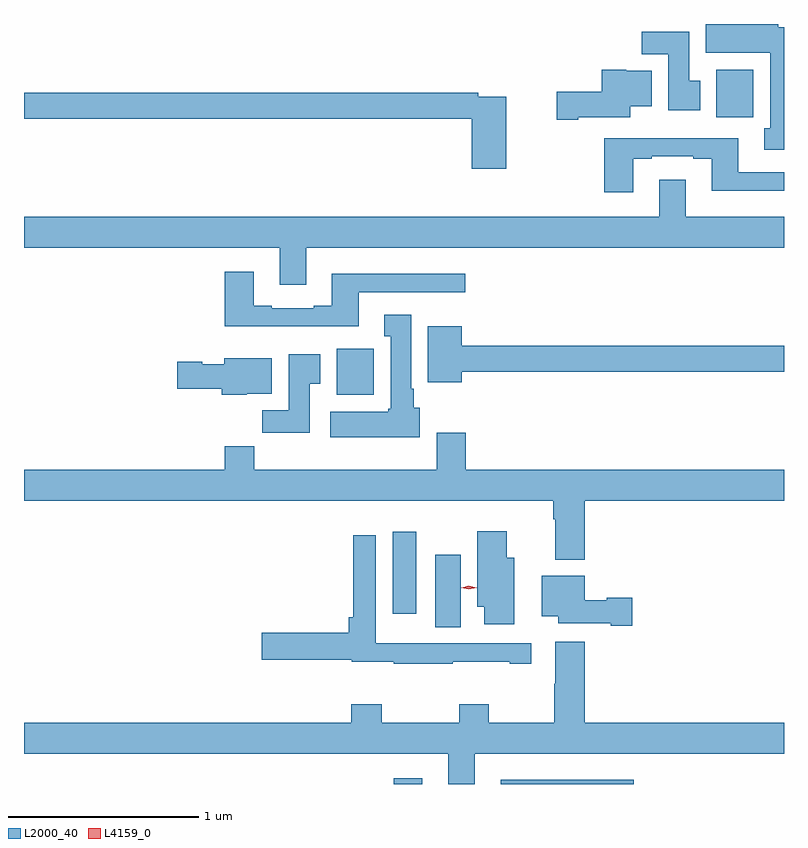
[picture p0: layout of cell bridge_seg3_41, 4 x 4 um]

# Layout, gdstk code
import gdstk
lib = gdstk.Library(unit=1e-6, precision=1e-09)
def R(c, l, rs):  # rectangles x0, y0, x1, y1
    for r in rs: c.add(gdstk.rectangle(r[:2], r[2:], *l))
def P(c, l, *ps):  # polygons
    for p in ps: c.add(gdstk.Polygon(p, *l))
L2000_40 = (2000, 40)
L4159_0 = (4159, 0)

bridge_seg3_41 = lib.new_cell('bridge_seg3_41')
R(bridge_seg3_41, L2000_40, [(832.475,671.454,832.627,671.485), (833.039,671.454,833.74,671.476), (832.694,672.28,832.828,672.661), (832.472,672.351,832.594,672.781), (832.175,673.502,832.372,673.744), (834.173,674.964,834.369,675.214)])
P(bridge_seg3_41, L2000_40, [(834.53,675.436),(834.499,675.436),(834.499,675.454),(834.119,675.454),(834.119,675.302),(834.458,675.302),(834.458,674.905),(834.425,674.905),(834.425,674.793),(834.53,674.793)],
  [(834.088,675.156),(834.031,675.156),(834.031,675.414),(833.782,675.414),(833.782,675.296),(833.921,675.296),(833.921,675),(834.088,675)],
  [(833.446,674.963),(833.722,674.963),(833.722,675.02),(833.833,675.02),(833.833,675.208),(833.7,675.208),(833.7,675.214),(833.57,675.214),(833.57,675.098),(833.334,675.098),(833.334,674.951),(833.446,674.951)],
  [(833.069,675.072),(832.922,675.072),(832.922,675.092),(830.53,675.092),(830.53,674.956),(832.886,674.956),(832.886,674.691),(833.069,674.691)],
  [(833.737,674.745),(833.833,674.745),(833.833,674.757),(834.053,674.757),(834.053,674.745),(834.149,674.745),(834.149,674.576),(834.53,674.576),(834.53,674.673),(834.289,674.673),(834.289,674.854),(833.585,674.854),(833.585,674.568),(833.737,674.568)],
  [(832.015,674.276),(834.53,674.276),(834.53,674.44),(834.013,674.44),(834.013,674.635),(833.873,674.635),(833.873,674.44),(830.53,674.44),(830.53,674.276),(831.875,674.276),(831.875,674.082),(832.015,674.082)],
  [(832.291,674.043),(832.852,674.043),(832.852,674.14),(832.151,674.14),(832.151,673.972),(832.055,673.972),(832.055,673.959),(831.835,673.959),(831.835,673.972),(831.739,673.972),(831.739,674.149),(831.587,674.149),(831.587,673.862),(832.291,673.862)],
  [(832.612,673.434),(832.582,673.434),(832.582,673.534),(832.567,673.534),(832.567,673.924),(832.427,673.924),(832.427,673.811),(832.46,673.811),(832.46,673.428),(832.447,673.428),(832.447,673.414),(832.143,673.414),(832.143,673.28),(832.612,673.28)],
  [(832.834,673.624),(834.53,673.624),(834.53,673.76),(832.834,673.76),(832.834,673.864),(832.655,673.864),(832.655,673.568),(832.834,673.568)],
  [(832.033,673.561),(832.09,673.561),(832.09,673.717),(831.923,673.717),(831.923,673.42),(831.784,673.42),(831.784,673.302),(832.033,673.302)],
  [(831.702,673.508),(831.835,673.508),(831.835,673.696),(831.584,673.696),(831.584,673.663),(831.468,673.663),(831.468,673.676),(831.336,673.676),(831.336,673.534),(831.572,673.534),(831.572,673.502),(831.702,673.502)],
  [(833.48,672.944),(834.53,672.944),(834.53,673.108),(832.856,673.108),(832.856,673.303),(832.703,673.303),(832.703,673.108),(831.743,673.108),(831.743,673.232),(831.587,673.232),(831.587,673.108),(830.53,673.108),(830.53,672.944),(833.315,672.944),(833.315,672.848),(833.327,672.848),(833.327,672.635),(833.48,672.635)],
  [(833.11,672.646),(833.071,672.646),(833.071,672.784),(832.916,672.784),(832.916,672.386),(832.952,672.386),(832.952,672.294),(833.11,672.294)],
  [(832.787,672.097),(833.087,672.097),(833.087,672.087),(833.2,672.087),(833.2,672.195),(832.59,672.195),(832.59,672.196),(832.38,672.196),(832.38,672.763),(832.264,672.763),(832.264,672.331),(832.238,672.331),(832.238,672.251),(831.78,672.251),(831.78,672.109),(832.254,672.109),(832.254,672.097),(832.477,672.097),(832.477,672.087),(832.787,672.087)],
  [(833.731,672.434),(833.598,672.434),(833.598,672.421),(833.482,672.421),(833.482,672.55),(833.255,672.55),(833.255,672.338),(833.342,672.338),(833.342,672.299),(833.618,672.299),(833.618,672.287),(833.731,672.287)],
  [(832.903,671.612),(834.53,671.612),(834.53,671.776),(833.48,671.776),(833.48,672.202),(833.327,672.202),(833.327,671.981),(833.32,671.981),(833.32,671.776),(832.977,671.776),(832.977,671.875),(832.822,671.875),(832.822,671.776),(832.413,671.776),(832.413,671.875),(832.253,671.875),(832.253,671.776),(830.53,671.776),(830.53,671.612),(832.763,671.612),(832.763,671.454),(832.903,671.454)])
P(bridge_seg3_41, L4159_0, [(832.871,672.478),(832.83,672.488),(832.829,672.488),(832.83,672.488),(832.871,672.498),(832.912,672.488),(832.912,672.488),(832.912,672.488)])

lib.write_gds('bridge_seg3_41.gds')
